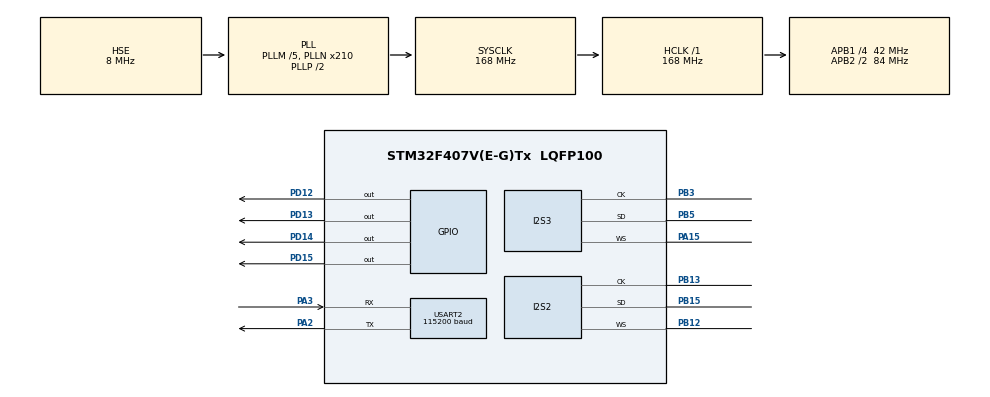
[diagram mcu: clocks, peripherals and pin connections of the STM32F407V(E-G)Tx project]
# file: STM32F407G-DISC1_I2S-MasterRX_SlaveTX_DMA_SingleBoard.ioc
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Dma.Request0=SPI3_TX
Dma.Request1=SPI2_RX
Dma.SPI2_RX.1.Direction=DMA_PERIPH_TO_MEMORY
Dma.SPI2_RX.1.FIFOMode=DMA_FIFOMODE_DISABLE
Dma.SPI2_RX.1.Instance=DMA1_Stream3
Dma.SPI2_RX.1.MemDataAlignment=DMA_MDATAALIGN_HALFWORD
Dma.SPI2_RX.1.MemInc=DMA_MINC_ENABLE
Dma.SPI2_RX.1.Mode=DMA_NORMAL
Dma.SPI2_RX.1.PeriphDataAlignment=DMA_PDATAALIGN_HALFWORD
Dma.SPI2_RX.1.PeriphInc=DMA_PINC_DISABLE
Dma.SPI2_RX.1.Priority=DMA_PRIORITY_MEDIUM
Dma.SPI3_TX.0.Direction=DMA_MEMORY_TO_PERIPH
Dma.SPI3_TX.0.FIFOMode=DMA_FIFOMODE_DISABLE
Dma.SPI3_TX.0.Instance=DMA1_Stream5
Dma.SPI3_TX.0.MemDataAlignment=DMA_MDATAALIGN_HALFWORD
Dma.SPI3_TX.0.MemInc=DMA_MINC_ENABLE
Dma.SPI3_TX.0.Mode=DMA_NORMAL
Dma.SPI3_TX.0.PeriphDataAlignment=DMA_PDATAALIGN_HALFWORD
Dma.SPI3_TX.0.PeriphInc=DMA_PINC_DISABLE
Dma.SPI3_TX.0.Priority=DMA_PRIORITY_MEDIUM
I2S2.AudioFreq=I2S_AUDIOFREQ_16K
I2S2.CPOL=I2S_CPOL_HIGH
I2S2.ErrorAudioFreq=0.0 %
I2S2.FullDuplexMode=I2S_FULLDUPLEXMODE_DISABLE
I2S2.Instance=SPI$Index
I2S2.Mode=I2S_MODE_MASTER_RX
I2S2.RealAudioFreq=16.0 KHz
I2S2.VirtualMode=I2S_MODE_MASTER
I2S3.AudioFreq=I2S_AUDIOFREQ_16K
I2S3.CPOL=I2S_CPOL_HIGH
I2S3.ErrorAudioFreq=0.0 %
I2S3.FullDuplexMode=I2S_FULLDUPLEXMODE_DISABLE
I2S3.Instance=SPI$Index
I2S3.RealAudioFreq=16.0 KHz
I2S3.VirtualMode=I2S_MODE_SLAVE
Mcu.Family=STM32F4
Mcu.Name=STM32F407V(E-G)Tx
Mcu.Package=LQFP100
NVIC.DMA1_Stream3_IRQn=true\:0\:0\:false\:false\:true\:false\:true\:true
NVIC.DMA1_Stream5_IRQn=true\:0\:0\:false\:false\:true\:false\:true\:true
NVIC.PriorityGroup=NVIC_PRIORITYGROUP_0
PA13.Mode=Serial_Wire
PA13.Signal=SYS_JTMS-SWDIO
PA14.Mode=Serial_Wire
PA14.Signal=SYS_JTCK-SWCLK
PA15.GPIO_Speed=GPIO_SPEED_FREQ_LOW
PA15.Mode=Half_Duplex_Slave
PA15.Signal=I2S3_WS
PA2.GPIO_Speed=GPIO_SPEED_FREQ_LOW
PA2.Mode=Asynchronous
PA2.Signal=USART2_TX
PA3.GPIO_Speed=GPIO_SPEED_FREQ_LOW
PA3.Mode=Asynchronous
PA3.Signal=USART2_RX
PB10.GPIO_Speed=GPIO_SPEED_FREQ_LOW
PB10.Signal=SPI2_SCK
PB12.GPIO_Speed=GPIO_SPEED_FREQ_LOW
PB12.Mode=Half_Duplex_Master
PB12.Signal=I2S2_WS
PB13.GPIO_Speed=GPIO_SPEED_FREQ_LOW
PB13.Mode=Half_Duplex_Master
PB13.Signal=I2S2_CK
PB15.GPIO_Speed=GPIO_SPEED_FREQ_LOW
PB15.Mode=Half_Duplex_Master
PB15.Signal=I2S2_SD
PB3.GPIO_Speed=GPIO_SPEED_FREQ_LOW
PB3.Mode=Half_Duplex_Slave
PB3.Signal=I2S3_CK
PB4.GPIO_Speed=GPIO_SPEED_FREQ_LOW
PB4.Signal=SPI1_MISO
PB5.GPIO_Speed=GPIO_SPEED_FREQ_LOW
PB5.Mode=Half_Duplex_Slave
PB5.Signal=I2S3_SD
PD12.Signal=GPIO_Output
PD13.Signal=GPIO_Output
PD14.Signal=GPIO_Output
PD15.Signal=GPIO_Output
PH0-OSC_IN.Mode=HSE-External-Oscillator
PH0-OSC_IN.Signal=RCC_OSC_IN
PH1-OSC_OUT.Mode=HSE-External-Oscillator
PH1-OSC_OUT.Signal=RCC_OSC_OUT
ProjectManager.HeapSize=0x200
ProjectManager.StackSize=0x400
ProjectManager.TargetToolchain=STM32CubeIDE
RCC.48MHZClocksFreq_Value=48000000
RCC.AHBFreq_Value=168000000
RCC.APB1CLKDivider=RCC_HCLK_DIV4
RCC.APB1Freq_Value=42000000
RCC.APB1TimFreq_Value=84000000
RCC.APB2CLKDivider=RCC_HCLK_DIV2
RCC.APB2Freq_Value=84000000
RCC.APB2TimFreq_Value=168000000
RCC.CortexFreq_Value=168000000
RCC.HCLKFreq_Value=168000000
RCC.HSE_VALUE=8000000
RCC.HSI_VALUE=16000000
RCC.LSE_VALUE=32768
RCC.PLLM=5
RCC.PLLN=210
RCC.PLLQ=7
RCC.PLLSourceVirtual=RCC_PLLSOURCE_HSE
RCC.SYSCLKFreq_VALUE=168000000
RCC.SYSCLKSource=RCC_SYSCLKSOURCE_PLLCLK
RCC.VCOOutputFreq_Value=336000000
USART2.BaudRate=115200
USART2.VirtualMode=VM_ASYNC
board=STM32F407G-DISC1

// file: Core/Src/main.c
/* USER CODE BEGIN Header */
/**
 ******************************************************************************
 * @file           : main.c
 * @brief          : Main program body
 ******************************************************************************
 * @attention
 *
 * <h2><center>&copy; Copyright (c) 2021 STMicroelectronics.
 * All rights reserved.</center></h2>
 *
 * This software component is licensed by ST under Ultimate Liberty license
 * SLA0044, the "License"; You may not use this file except in compliance with
 * the License. You may obtain a copy of the License at:
 *                             www.st.com/SLA0044
 *
 ******************************************************************************
 */
/* USER CODE END Header */
#include "main.h"

/* USER CODE BEGIN Includes */

#include <stdio.h>

/* USER CODE END Includes */

/* USER CODE BEGIN PD */

#define numdata  300

/* USER CODE END PD */

I2S_HandleTypeDef hi2s2;
I2S_HandleTypeDef hi2s3;
DMA_HandleTypeDef hdma_spi2_rx;
DMA_HandleTypeDef hdma_spi3_tx;

UART_HandleTypeDef huart2;

/* USER CODE BEGIN PV */

uint16_t send_data2[numdata], errorcode, have_error, num_error = 0;
uint16_t receive_data2[numdata];

uint16_t send_data1[numdata];
uint16_t receive_data1[numdata];

/* USER CODE END PV */

void SystemClock_Config(void);
void PeriphCommonClock_Config(void);
static void MX_GPIO_Init(void);
static void MX_DMA_Init(void);
static void MX_USART2_UART_Init(void);
static void MX_I2S2_Init(void);
static void MX_I2S3_Init(void);
/* USER CODE BEGIN PFP */

#define PUTCHAR_PROTOTYPE int __io_putchar(int ch)

/* USER CODE END PFP */

int main(void)
{

  /* MCU Configuration--------------------------------------------------------*/

  /* Reset of all peripherals, Initializes the Flash interface and the Systick. */
  HAL_Init();

  /* Configure the system clock */
  SystemClock_Config();

/* Configure the peripherals common clocks */
  PeriphCommonClock_Config();

  /* Initialize all configured peripherals */
  MX_GPIO_Init();
  MX_DMA_Init();
  MX_USART2_UART_Init();
  MX_I2S2_Init();
  MX_I2S3_Init();
  /* USER CODE BEGIN 2 */

	printf("Starting >> STM32F407G-DISC1_SPI-MasterRX_SlaveTX_DMA_SingleBoard \n");
	printf("before HAL_SPI_TransmitReceive_DMA \n");

//	// fill data to be transmitted (optional)
//	for(uint16_t cntr = 0; cntr < numdata; cntr++)
//		send_data2[cntr] = cntr;

	// fill data to be transmitted
	for(uint16_t cntr = 0; cntr < numdata; cntr++)
		send_data1[cntr] = cntr;

	// print data to be transmitted
	printf("send_data1 Buffer \n");
	for(uint16_t cntr = 0; cntr < numdata; cntr++)
		printf("%d = %d \n", cntr, send_data1[cntr]);

//	// print data to be transmitted (optional)
//	printf("send_data2 Buffer \n");
//	for(uint16_t cntr = 0; cntr < numdata; cntr++)
//		printf("%d = %d \n", cntr, send_data2[cntr]);

	// print data before receive
	printf("receive_data1 Buffer \n");
	for(uint16_t cntr = 0; cntr < numdata; cntr++)
		printf("%d = %d \n", cntr, receive_data1[cntr]);

//	// print data before receive (optional)
//	printf("receive_data2 Buffer \n");
//	for(uint16_t cntr = 0; cntr < numdata; cntr++)
//		printf("%d = %d \n", cntr, receive_data2[cntr]);

	// this is for SPI slave transmit to prepare to transmit
	// it will not transmit immediately because it is a slave
	HAL_I2S_Transmit_DMA(&hi2s3, send_data1, numdata);

	// this is for SPI master receive
	// it will  transmit immediately because it is the master
	HAL_I2S_Receive_DMA(&hi2s2, receive_data1, numdata);

	printf("after HAL_SPI_TransmitReceive_DMA \n");

	// need this much delay becoz when checking and comparing the for loop below, the DMA is not yet finished
	HAL_Delay(8);

	// check if transmitted data is equal to received data
	for(uint16_t cntr = 0; cntr < numdata; cntr++)
	{
		if (send_data1[cntr] != receive_data1[cntr])
			num_error++;
	}
//	if (have_error == 1)
//	{
//		errorcode = 1;
//		have_error = 0;
//	}

//	for(uint16_t cntr = 0; cntr < numdata; cntr++)
//	{
//		if (!(send_data1[cntr] == receive_data1[cntr]))
//			have_error = 1;
//	}
//	if (have_error == 1)
//	{
//		errorcode = errorcode + 2;
//		have_error = 1;
//	}

	printf("receive_data1 Buffer \n");
	for(uint16_t cntr = 0; cntr < numdata; cntr++)
		printf("%d = %d \n", cntr, receive_data1[cntr]);

//	printf("receive_data2 Buffer \n");
//	for(uint16_t cntr = 0; cntr < numdata; cntr++)
//		printf("%d = %d \n", cntr, receive_data2[cntr]);

	HAL_Delay(100);

	printf("num_error = %d \n", num_error);
	printf("Ending >> STM32F407G-DISC1_SPI-MasterRX_SlaveTX_DMA_SingleBoard \n");

	if (have_error)
		HAL_GPIO_WritePin(GPIOD, GPIO_PIN_14, SET);
	else
		HAL_GPIO_WritePin(GPIOD, GPIO_PIN_12, SET);

  /* USER CODE END 2 */

  /* Infinite loop */
	while (1)
	{

	}
}

void SystemClock_Config(void)
{
  RCC_OscInitTypeDef RCC_OscInitStruct = {0};
  RCC_ClkInitTypeDef RCC_ClkInitStruct = {0};

  /** Configure the main internal regulator output voltage
  */
  __HAL_RCC_PWR_CLK_ENABLE();
  __HAL_PWR_VOLTAGESCALING_CONFIG(PWR_REGULATOR_VOLTAGE_SCALE1);

  /** Initializes the RCC Oscillators according to the specified parameters
  * in the RCC_OscInitTypeDef structure.
  */
  RCC_OscInitStruct.OscillatorType = RCC_OSCILLATORTYPE_HSE;
  RCC_OscInitStruct.HSEState = RCC_HSE_ON;
  RCC_OscInitStruct.PLL.PLLState = RCC_PLL_ON;
  RCC_OscInitStruct.PLL.PLLSource = RCC_PLLSOURCE_HSE;
  RCC_OscInitStruct.PLL.PLLM = 5;
  RCC_OscInitStruct.PLL.PLLN = 210;
  RCC_OscInitStruct.PLL.PLLP = RCC_PLLP_DIV2;
  RCC_OscInitStruct.PLL.PLLQ = 7;
  if (HAL_RCC_OscConfig(&RCC_OscInitStruct) != HAL_OK)
  {
    Error_Handler();
  }

  /** Initializes the CPU, AHB and APB buses clocks
  */
  RCC_ClkInitStruct.ClockType = RCC_CLOCKTYPE_HCLK|RCC_CLOCKTYPE_SYSCLK
                              |RCC_CLOCKTYPE_PCLK1|RCC_CLOCKTYPE_PCLK2;
  RCC_ClkInitStruct.SYSCLKSource = RCC_SYSCLKSOURCE_PLLCLK;
  RCC_ClkInitStruct.AHBCLKDivider = RCC_SYSCLK_DIV1;
  RCC_ClkInitStruct.APB1CLKDivider = RCC_HCLK_DIV4;
  RCC_ClkInitStruct.APB2CLKDivider = RCC_HCLK_DIV2;

  if (HAL_RCC_ClockConfig(&RCC_ClkInitStruct, FLASH_LATENCY_5) != HAL_OK)
  {
    Error_Handler();
  }
}

void PeriphCommonClock_Config(void)
{
  RCC_PeriphCLKInitTypeDef PeriphClkInitStruct = {0};

  /** Initializes the peripherals clock
  */
  PeriphClkInitStruct.PeriphClockSelection = RCC_PERIPHCLK_I2S;
  PeriphClkInitStruct.PLLI2S.PLLI2SN = 192;
  PeriphClkInitStruct.PLLI2S.PLLI2SR = 2;
  if (HAL_RCCEx_PeriphCLKConfig(&PeriphClkInitStruct) != HAL_OK)
  {
    Error_Handler();
  }
}

static void MX_I2S2_Init(void)
{

  hi2s2.Instance = SPI2;
  hi2s2.Init.Mode = I2S_MODE_MASTER_RX;
  hi2s2.Init.Standard = I2S_STANDARD_PHILIPS;
  hi2s2.Init.DataFormat = I2S_DATAFORMAT_16B;
  hi2s2.Init.MCLKOutput = I2S_MCLKOUTPUT_DISABLE;
  hi2s2.Init.AudioFreq = I2S_AUDIOFREQ_16K;
  hi2s2.Init.CPOL = I2S_CPOL_HIGH;
  hi2s2.Init.ClockSource = I2S_CLOCK_PLL;
  hi2s2.Init.FullDuplexMode = I2S_FULLDUPLEXMODE_DISABLE;
  if (HAL_I2S_Init(&hi2s2) != HAL_OK)
  {
    Error_Handler();
  }

}

static void MX_I2S3_Init(void)
{

  hi2s3.Instance = SPI3;
  hi2s3.Init.Mode = I2S_MODE_SLAVE_TX;
  hi2s3.Init.Standard = I2S_STANDARD_PHILIPS;
  hi2s3.Init.DataFormat = I2S_DATAFORMAT_16B;
  hi2s3.Init.MCLKOutput = I2S_MCLKOUTPUT_DISABLE;
  hi2s3.Init.AudioFreq = I2S_AUDIOFREQ_16K;
  hi2s3.Init.CPOL = I2S_CPOL_HIGH;
  hi2s3.Init.ClockSource = I2S_CLOCK_PLL;
  hi2s3.Init.FullDuplexMode = I2S_FULLDUPLEXMODE_DISABLE;
  if (HAL_I2S_Init(&hi2s3) != HAL_OK)
  {
    Error_Handler();
  }

}

static void MX_USART2_UART_Init(void)
{

  huart2.Instance = USART2;
  huart2.Init.BaudRate = 115200;
  huart2.Init.WordLength = UART_WORDLENGTH_8B;
  huart2.Init.StopBits = UART_STOPBITS_1;
  huart2.Init.Parity = UART_PARITY_NONE;
  huart2.Init.Mode = UART_MODE_TX_RX;
  huart2.Init.HwFlowCtl = UART_HWCONTROL_NONE;
  huart2.Init.OverSampling = UART_OVERSAMPLING_16;
  if (HAL_UART_Init(&huart2) != HAL_OK)
  {
    Error_Handler();
  }

}

static void MX_DMA_Init(void)
{

  /* DMA controller clock enable */
  __HAL_RCC_DMA1_CLK_ENABLE();

  /* DMA interrupt init */
  /* DMA1_Stream3_IRQn interrupt configuration */
  HAL_NVIC_SetPriority(DMA1_Stream3_IRQn, 0, 0);
  HAL_NVIC_EnableIRQ(DMA1_Stream3_IRQn);
  /* DMA1_Stream5_IRQn interrupt configuration */
  HAL_NVIC_SetPriority(DMA1_Stream5_IRQn, 0, 0);
  HAL_NVIC_EnableIRQ(DMA1_Stream5_IRQn);

}

static void MX_GPIO_Init(void)
{
  GPIO_InitTypeDef GPIO_InitStruct = {0};

  /* GPIO Ports Clock Enable */
  __HAL_RCC_GPIOH_CLK_ENABLE();
  __HAL_RCC_GPIOA_CLK_ENABLE();
  __HAL_RCC_GPIOB_CLK_ENABLE();
  __HAL_RCC_GPIOD_CLK_ENABLE();

  /*Configure GPIO pin Output Level */
  HAL_GPIO_WritePin(GPIOD, GPIO_PIN_12|GPIO_PIN_13|GPIO_PIN_14|GPIO_PIN_15, GPIO_PIN_RESET);

  /*Configure GPIO pin : PB10 */
  GPIO_InitStruct.Pin = GPIO_PIN_10;
  GPIO_InitStruct.Mode = GPIO_MODE_AF_PP;
  GPIO_InitStruct.Pull = GPIO_NOPULL;
  GPIO_InitStruct.Speed = GPIO_SPEED_FREQ_LOW;
  GPIO_InitStruct.Alternate = GPIO_AF5_SPI2;
  HAL_GPIO_Init(GPIOB, &GPIO_InitStruct);

  /*Configure GPIO pins : PD12 PD13 PD14 PD15 */
  GPIO_InitStruct.Pin = GPIO_PIN_12|GPIO_PIN_13|GPIO_PIN_14|GPIO_PIN_15;
  GPIO_InitStruct.Mode = GPIO_MODE_OUTPUT_PP;
  GPIO_InitStruct.Pull = GPIO_NOPULL;
  GPIO_InitStruct.Speed = GPIO_SPEED_FREQ_LOW;
  HAL_GPIO_Init(GPIOD, &GPIO_InitStruct);

  /*Configure GPIO pin : PB4 */
  GPIO_InitStruct.Pin = GPIO_PIN_4;
  GPIO_InitStruct.Mode = GPIO_MODE_AF_PP;
  GPIO_InitStruct.Pull = GPIO_NOPULL;
  GPIO_InitStruct.Speed = GPIO_SPEED_FREQ_LOW;
  GPIO_InitStruct.Alternate = GPIO_AF5_SPI1;
  HAL_GPIO_Init(GPIOB, &GPIO_InitStruct);

}

/* USER CODE BEGIN 4 */

PUTCHAR_PROTOTYPE
{
	/* Place your implementation of fputc here */
	/* e.g. write a character to the LPUART1 and Loop until the end of transmission */
	HAL_UART_Transmit(&huart2, (uint8_t *)&ch, 1, 0xFFFF);

	return ch;
}

//void HAL_SPI_RxCpltCallback(SPI_HandleTypeDef *hspi)
//{
//	UNUSED(hspi);
//
//	printf("HAL_SPI_RxCpltCallback \n");
//}
//
//void HAL_SPI_RxHalfCpltCallback(SPI_HandleTypeDef *hspi)
//{
//	UNUSED(hspi);
//
//	printf("HAL_SPI_RxHalfCpltCallback \n");
//}
//
//void HAL_SPI_TxCpltCallback(SPI_HandleTypeDef *hspi)
//{
//	UNUSED(hspi);
//
//	printf("HAL_SPI_TxCpltCallback \n");
//}
//
//void HAL_SPI_TxHalfCpltCallback(SPI_HandleTypeDef *hspi)
//{
//	UNUSED(hspi);
//
//	printf("HAL_SPI_TxHalfCpltCallback \n");
//}
//
//void HAL_SPI_TxRxCpltCallback(SPI_HandleTypeDef *hspi)
//{
//	UNUSED(hspi);
//
//	printf("HAL_SPI_TxRxCpltCallback \n");
//}
//
//void HAL_SPI_TxRxHalfCpltCallback(SPI_HandleTypeDef *hspi)
//{
//	UNUSED(hspi);
//
//	printf("HAL_SPI_TxRxHalfCpltCallback \n");
//}
//
//void HAL_SPI_ErrorCallback(SPI_HandleTypeDef *hspi)
//{
//	UNUSED(hspi);
//
//	printf("HAL_SPI_ErrorCallback : Error code %d \n", hspi->ErrorCode);
//
//}

/* USER CODE END 4 */

void Error_Handler(void)
{
  /* USER CODE BEGIN Error_Handler_Debug */
	/* User can add his own implementation to report the HAL error return state */
	printf("Error_Handler \n");
	__disable_irq();
	while (1)
	{
	}
  /* USER CODE END Error_Handler_Debug */
}
